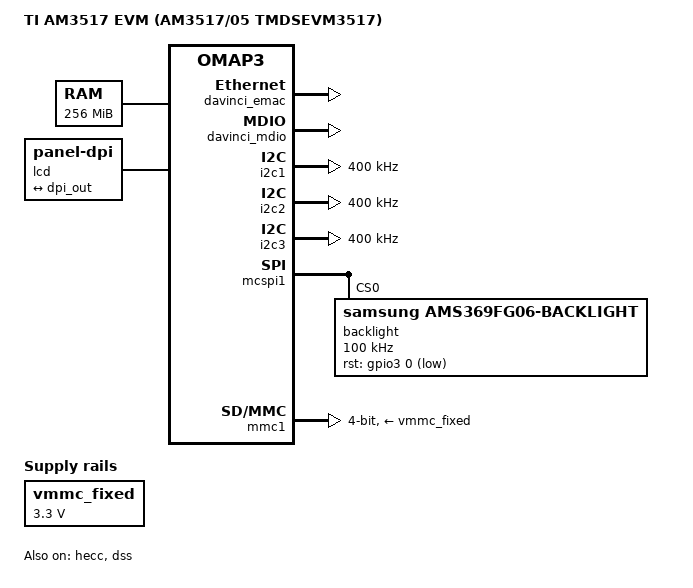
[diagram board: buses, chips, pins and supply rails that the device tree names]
/*
 * Copyright (C) 2011 Texas Instruments Incorporated - http://www.ti.com/
 *
 * This program is free software; you can redistribute it and/or modify
 * it under the terms of the GNU General Public License version 2 as
 * published by the Free Software Foundation.
 */
/dts-v1/;

#include "am3517.dtsi"

/ {
	model = "TI AM3517 EVM (AM3517/05 TMDSEVM3517)";
	compatible = "ti,am3517-evm", "ti,am3517", "ti,omap3";

	chosen {
		bootargs = "console=ttyO2,115200n8 root=/dev/nfs rw nfsroot=192.168.0.78:/srv/evm_jessie ip=192.168.0.100:192.168.0.78:192.168.0.1:255.255.0.0:arm:eth0:off mem=256M";
		/*bootargs = "console=ttyO2,115200 noinitrd root=/dev/mmcblk0p2 rootfstype=ext3 rw rootdelay=1";*/
	};

	memory {
		device_type = "memory";
		reg = <0x80000000 0x10000000>; /* 256 MB */
	};

	vmmc_fixed: vmmc {
		compatible = "regulator-fixed";
		regulator-name = "vmmc_fixed";
		regulator-min-microvolt = <3300000>;
		regulator-max-microvolt = <3300000>;
	};

	lcd: display@0 {
		compatible = "panel-dpi";
		label = "lcd";

		port {
			lcd_in: endpoint {
				remote-endpoint = <&dpi_out>;
			};
		};

		panel-timing {
			clock-frequency = <30355200>;  /* 75Hz */
			hactive = <480>;
			vactive = <800>;
			hfront-porch = <8>;
			hback-porch = <8>;
			hsync-len = <1>;
			vback-porch = <8>;
			vfront-porch = <8>;
			vsync-len = <1>;

			hsync-active = <0>;
			vsync-active = <0>;
			de-active = <0>;
			pixelclk-active = <1>;
		};
	};
};

&omap3_pmx_core {
	pinctrl-names = "default";
	pinctrl-0 = <
		&ctrl_1_pins
	>;

	ctrl_1_pins: pinmux_ctrl_1_pins {
		pinctrl-single,pins = <
			/* lcd_rst */
			0x0a0 (PIN_OUTPUT_PULLUP | MUX_MODE4)	/* gpmc_wait2.gpio_64 */
		>;
	};

	dss_dpi_pins: pinmux_dss_dpi_pins {
		pinctrl-single,pins = <
			OMAP3_CORE1_IOPAD(0x20d4, PIN_OUTPUT | MUX_MODE0)       /* dss_pclk.dss_pclk */
			OMAP3_CORE1_IOPAD(0x20d6, PIN_OUTPUT | MUX_MODE0)       /* dss_hsync.dss_hsync */
			OMAP3_CORE1_IOPAD(0x20d8, PIN_OUTPUT | MUX_MODE0)       /* dss_vsync.dss_vsync */
			OMAP3_CORE1_IOPAD(0x20da, PIN_OUTPUT | MUX_MODE0)       /* dss_acbias.dss_acbias */
			OMAP3_CORE1_IOPAD(0x20dc, PIN_OUTPUT | MUX_MODE0)       /* dss_data0.dss_data0 */
			OMAP3_CORE1_IOPAD(0x20de, PIN_OUTPUT | MUX_MODE0)       /* dss_data1.dss_data1 */
			OMAP3_CORE1_IOPAD(0x20e0, PIN_OUTPUT | MUX_MODE0)       /* dss_data2.dss_data2 */
			OMAP3_CORE1_IOPAD(0x20e2, PIN_OUTPUT | MUX_MODE0)       /* dss_data3.dss_data3 */
			OMAP3_CORE1_IOPAD(0x20e4, PIN_OUTPUT | MUX_MODE0)       /* dss_data4.dss_data4 */
			OMAP3_CORE1_IOPAD(0x20e6, PIN_OUTPUT | MUX_MODE0)       /* dss_data5.dss_data5 */
			OMAP3_CORE1_IOPAD(0x20e8, PIN_OUTPUT | MUX_MODE0)       /* dss_data6.dss_data6 */
			OMAP3_CORE1_IOPAD(0x20ea, PIN_OUTPUT | MUX_MODE0)       /* dss_data7.dss_data7 */
			OMAP3_CORE1_IOPAD(0x20ec, PIN_OUTPUT | MUX_MODE0)       /* dss_data8.dss_data8 */
			OMAP3_CORE1_IOPAD(0x20ee, PIN_OUTPUT | MUX_MODE0)       /* dss_data9.dss_data9 */
			OMAP3_CORE1_IOPAD(0x20f0, PIN_OUTPUT | MUX_MODE0)       /* dss_data10.dss_data10 */
			OMAP3_CORE1_IOPAD(0x20f2, PIN_OUTPUT | MUX_MODE0)       /* dss_data11.dss_data11 */
			OMAP3_CORE1_IOPAD(0x20f4, PIN_OUTPUT | MUX_MODE0)       /* dss_data12.dss_data12 */
			OMAP3_CORE1_IOPAD(0x20f6, PIN_OUTPUT | MUX_MODE0)       /* dss_data13.dss_data13 */
			OMAP3_CORE1_IOPAD(0x20f8, PIN_OUTPUT | MUX_MODE0)       /* dss_data14.dss_data14 */
			OMAP3_CORE1_IOPAD(0x20fa, PIN_OUTPUT | MUX_MODE0)       /* dss_data15.dss_data15 */
			OMAP3_CORE1_IOPAD(0x20fc, PIN_OUTPUT | MUX_MODE0)       /* dss_data16.dss_data16 */
			OMAP3_CORE1_IOPAD(0x20fe, PIN_OUTPUT | MUX_MODE0)       /* dss_data17.dss_data17 */
			OMAP3_CORE1_IOPAD(0x2100, PIN_OUTPUT | MUX_MODE0)       /* dss_data18.dss_data18 */
			OMAP3_CORE1_IOPAD(0x2102, PIN_OUTPUT | MUX_MODE0)       /* dss_data19.dss_data19 */
			OMAP3_CORE1_IOPAD(0x2104, PIN_OUTPUT | MUX_MODE0)       /* dss_data20.dss_data20 */
			OMAP3_CORE1_IOPAD(0x2106, PIN_OUTPUT | MUX_MODE0)       /* dss_data21.dss_data21 */
			OMAP3_CORE1_IOPAD(0x2108, PIN_OUTPUT | MUX_MODE0)       /* dss_data22.dss_data22 */
			OMAP3_CORE1_IOPAD(0x210a, PIN_OUTPUT | MUX_MODE0)       /* dss_data23.dss_data23 */
		>;
	};

	spi1_pins: pinmux_spi1_pins {
		pinctrl-single,pins = <
			/*0x198 (PIN_OUTPUT | MUX_MODE0)*/			/* mcspi1_clk.mcspi1_clk */
			0x19a (PIN_OUTPUT | MUX_MODE0)			/* mcspi1_simo.mcspi1_simo */
			0x19c (PIN_INPUT | MUX_MODE0)			/* mcspi1_somi.mcspi1_somi */
			0x19e (PIN_OUTPUT_PULLUP | MUX_MODE0)	/* mcspi1_cs0.mcspi1_cs0 */
		>;
	};

	hecc_pins: pinmux_hecc_pins {
		pinctrl-single,pins = <
			0x1e4 (PIN_OUTPUT | MUX_MODE0)				/* hecc1_txd */
			0x1e6 (PIN_INPUT_PULLUP | MUX_MODE0)		/* hecc1_rxd */
		>;
	};
};

&omap3_pmx_wkup {
	pinctrl-names = "default";
	pinctrl-0 = <
		&ctrl_2_pins
	>;

	ctrl_2_pins: pinmux_ctrl_2_pins {
		pinctrl-single,pins = <
			/* nreswarm reset */
			OMAP3_WKUP_IOPAD(0x2a08, PIN_INPUT_PULLUP | MUX_MODE4)
		>;
	};
};

&davinci_emac {
	     status = "okay";
};

&davinci_mdio {
	     status = "okay";
};

&i2c1 {
	clock-frequency = <400000>;
};

&i2c2 {
	clock-frequency = <400000>;
};

&i2c3 {
	clock-frequency = <400000>;
};

&hecc {
	pinctrl-names = "default";
	pinctrl-0 = <&hecc_pins>;
	status = "okay";
};

&mcspi1 {
	pinctrl-names = "default";
	pinctrl-0 = <&spi1_pins>;
	status = "okay";

	backlight: backlight@0 {
		compatible = "samsung,ams369fg06-backlight";
		spi-max-frequency = <100000>;
		reg = <0>;
		gpio-rst = <&gpio3 0 GPIO_ACTIVE_LOW>; 	/* gpio_64 */
	};
};

&mmc1 {
	vmmc-supply = <&vmmc_fixed>;
	bus-width = <4>;
	status = "okay";
};

&mmc2 {
      status = "disabled";
};

&mmc3 {
      status = "disabled";
};

&dss {
	status = "okay";

	pinctrl-names = "default";
	pinctrl-0 = <&dss_dpi_pins>;

	port {
		dpi_out: endpoint {
			remote-endpoint = <&lcd_in>;
			data-lines = <24>;
		};
	};
};
